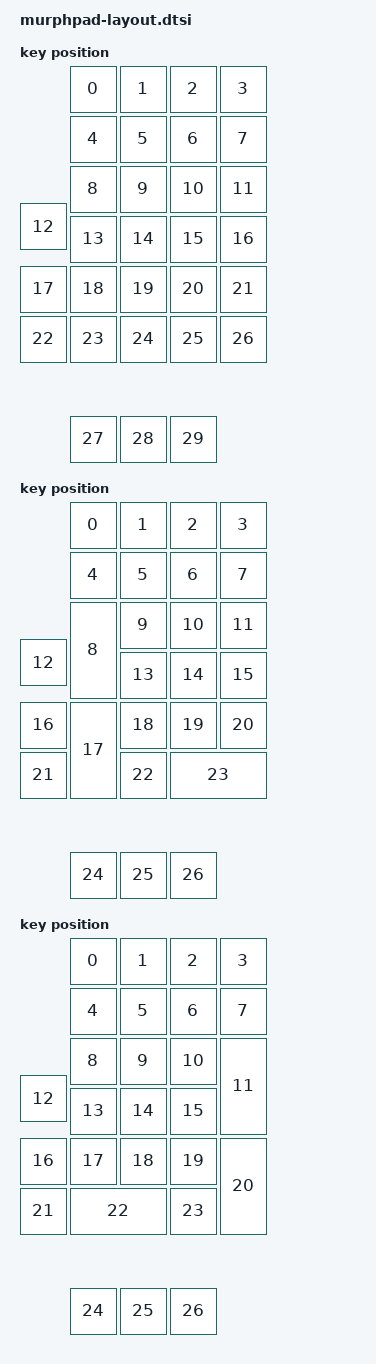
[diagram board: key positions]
/*
 * Copyright (c) 2024 The ZMK Contributors
 *
 * SPDX-License-Identifier: MIT
 */

#include <physical_layouts.dtsi>

/ {
    chosen {
        zmk,physical-layout = &all_1u_layout;
    };

    all_1u_layout: keymap_layout_0 {
        compatible = "zmk,physical-layout";
        display-name = "Default";

        transform = <&all_1u_transform>;

        keys  //                     w   h    x    y     rot   rx   ry
            = <&key_physical_attrs 100 100  100    0       0    0    0>
            , <&key_physical_attrs 100 100  200    0       0    0    0>
            , <&key_physical_attrs 100 100  300    0       0    0    0>
            , <&key_physical_attrs 100 100  400    0       0    0    0>
            , <&key_physical_attrs 100 100  100  100       0    0    0>
            , <&key_physical_attrs 100 100  200  100       0    0    0>
            , <&key_physical_attrs 100 100  300  100       0    0    0>
            , <&key_physical_attrs 100 100  400  100       0    0    0>
            , <&key_physical_attrs 100 100  100  200       0    0    0>
            , <&key_physical_attrs 100 100  200  200       0    0    0>
            , <&key_physical_attrs 100 100  300  200       0    0    0>
            , <&key_physical_attrs 100 100  400  200       0    0    0>
            , <&key_physical_attrs 100 100    0  275       0    0    0>
            , <&key_physical_attrs 100 100  100  300       0    0    0>
            , <&key_physical_attrs 100 100  200  300       0    0    0>
            , <&key_physical_attrs 100 100  300  300       0    0    0>
            , <&key_physical_attrs 100 100  400  300       0    0    0>
            , <&key_physical_attrs 100 100    0  400       0    0    0>
            , <&key_physical_attrs 100 100  100  400       0    0    0>
            , <&key_physical_attrs 100 100  200  400       0    0    0>
            , <&key_physical_attrs 100 100  300  400       0    0    0>
            , <&key_physical_attrs 100 100  400  400       0    0    0>
            , <&key_physical_attrs 100 100    0  500       0    0    0>
            , <&key_physical_attrs 100 100  100  500       0    0    0>
            , <&key_physical_attrs 100 100  200  500       0    0    0>
            , <&key_physical_attrs 100 100  300  500       0    0    0>
            , <&key_physical_attrs 100 100  400  500       0    0    0>
            , <&key_physical_attrs 100 100  100  700       0    0    0>
            , <&key_physical_attrs 100 100  200  700       0    0    0>
            , <&key_physical_attrs 100 100  300  700       0    0    0>
            ;

    };

    right_numpad_layout: keymap_layout_1 {
        compatible = "zmk,physical-layout";
        display-name = "Right Numpad";

        transform = <&right_numpad_transform>;

        keys  //                     w   h    x    y     rot   rx   ry
            = <&key_physical_attrs 100 100  100    0       0    0    0>
            , <&key_physical_attrs 100 100  200    0       0    0    0>
            , <&key_physical_attrs 100 100  300    0       0    0    0>
            , <&key_physical_attrs 100 100  400    0       0    0    0>
            , <&key_physical_attrs 100 100  100  100       0    0    0>
            , <&key_physical_attrs 100 100  200  100       0    0    0>
            , <&key_physical_attrs 100 100  300  100       0    0    0>
            , <&key_physical_attrs 100 100  400  100       0    0    0>
            , <&key_physical_attrs 100 200  100  200       0    0    0>
            , <&key_physical_attrs 100 100  200  200       0    0    0>
            , <&key_physical_attrs 100 100  300  200       0    0    0>
            , <&key_physical_attrs 100 100  400  200       0    0    0>
            , <&key_physical_attrs 100 100    0  275       0    0    0>
            , <&key_physical_attrs 100 100  200  300       0    0    0>
            , <&key_physical_attrs 100 100  300  300       0    0    0>
            , <&key_physical_attrs 100 100  400  300       0    0    0>
            , <&key_physical_attrs 100 100    0  400       0    0    0>
            , <&key_physical_attrs 100 200  100  400       0    0    0>
            , <&key_physical_attrs 100 100  200  400       0    0    0>
            , <&key_physical_attrs 100 100  300  400       0    0    0>
            , <&key_physical_attrs 100 100  400  400       0    0    0>
            , <&key_physical_attrs 100 100    0  500       0    0    0>
            , <&key_physical_attrs 100 100  200  500       0    0    0>
            , <&key_physical_attrs 200 100  300  500       0    0    0>
            , <&key_physical_attrs 100 100  100  700       0    0    0>
            , <&key_physical_attrs 100 100  200  700       0    0    0>
            , <&key_physical_attrs 100 100  300  700       0    0    0>
            ;

    };

    left_numpad_layout: keymap_layout_2 {
        compatible = "zmk,physical-layout";
        display-name = "Left Numpad";

        transform = <&left_numpad_transform>;

        keys  //                     w   h    x    y     rot   rx   ry
            = <&key_physical_attrs 100 100  100    0       0    0    0>
            , <&key_physical_attrs 100 100  200    0       0    0    0>
            , <&key_physical_attrs 100 100  300    0       0    0    0>
            , <&key_physical_attrs 100 100  400    0       0    0    0>
            , <&key_physical_attrs 100 100  100  100       0    0    0>
            , <&key_physical_attrs 100 100  200  100       0    0    0>
            , <&key_physical_attrs 100 100  300  100       0    0    0>
            , <&key_physical_attrs 100 100  400  100       0    0    0>
            , <&key_physical_attrs 100 100  100  200       0    0    0>
            , <&key_physical_attrs 100 100  200  200       0    0    0>
            , <&key_physical_attrs 100 100  300  200       0    0    0>
            , <&key_physical_attrs 100 200  400  200       0    0    0>
            , <&key_physical_attrs 100 100    0  275       0    0    0>
            , <&key_physical_attrs 100 100  100  300       0    0    0>
            , <&key_physical_attrs 100 100  200  300       0    0    0>
            , <&key_physical_attrs 100 100  300  300       0    0    0>
            , <&key_physical_attrs 100 100    0  400       0    0    0>
            , <&key_physical_attrs 100 100  100  400       0    0    0>
            , <&key_physical_attrs 100 100  200  400       0    0    0>
            , <&key_physical_attrs 100 100  300  400       0    0    0>
            , <&key_physical_attrs 100 200  400  400       0    0    0>
            , <&key_physical_attrs 100 100    0  500       0    0    0>
            , <&key_physical_attrs 200 100  100  500       0    0    0>
            , <&key_physical_attrs 100 100  300  500       0    0    0>
            , <&key_physical_attrs 100 100  100  700       0    0    0>
            , <&key_physical_attrs 100 100  200  700       0    0    0>
            , <&key_physical_attrs 100 100  300  700       0    0    0>
            ;
    };

    position_map {
        compatible = "zmk,physical-layout-position-map";
        all_1u_map {
            physical-layout = <&all_1u_layout>;
            positions
                = <11 21 23 25 22 17 18 19 20 13 14 15  8  9 10 27>
                , <28 29 16 26 24>
                ;
        };

        right_numpad_map {
            physical-layout = <&right_numpad_layout>;
            positions
                = < 8 17 23 22 21 16 18 19 20 13 14 15  9 10 11 24>
                , <25 26 27 28 29>
                ;
        };

        left_numpad_map {
            physical-layout = <&left_numpad_layout>;
            positions
                = <11 20 22 23 21 16 17 18 19 13 14 15  8  9 10 24>
                , <25 26 27 28 29>
                ;
        };
    };
};
